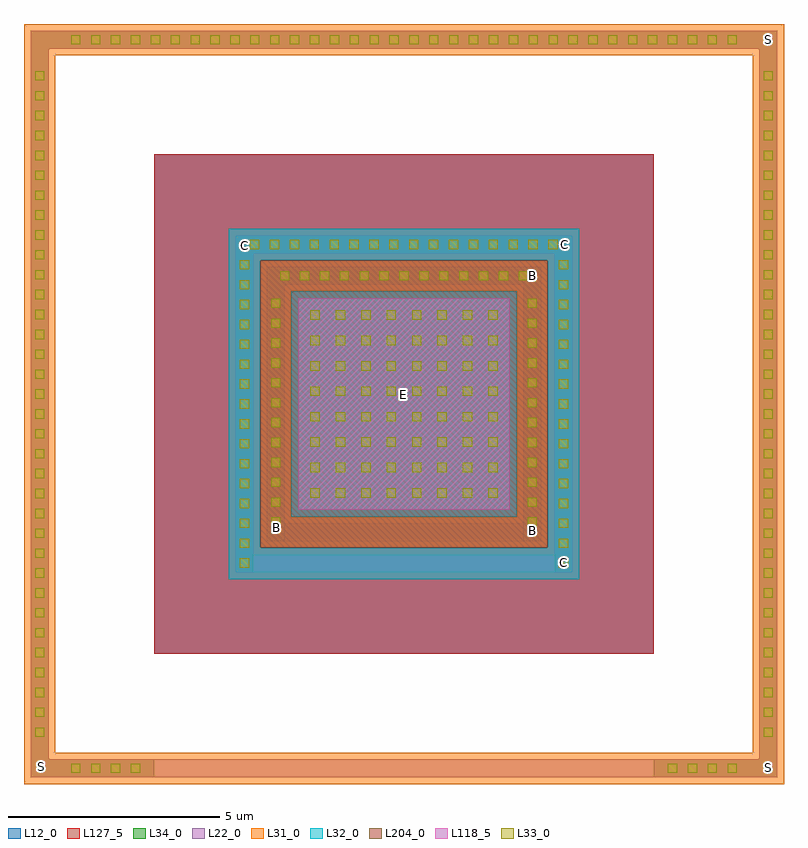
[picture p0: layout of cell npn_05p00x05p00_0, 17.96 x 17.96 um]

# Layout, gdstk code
import gdstk
lib = gdstk.Library(unit=1e-6, precision=1e-09)
def R(c, l, rs):  # rectangles x0, y0, x1, y1
    for r in rs: c.add(gdstk.rectangle(r[:2], r[2:], *l))
def A(c, l, x, y, w, h, nx, ny, dx, dy):  # array of equal rectangles
    R(c, l, [(x+i*dx, y+j*dy, x+i*dx+w, y+j*dy+h) for i in range(nx) for j in range(ny)])
def P(c, l, *ps):  # polygons
    for p in ps: c.add(gdstk.Polygon(p, *l))
L12_0 = (12, 0)
L22_0 = (22, 0)
L31_0 = (31, 0)
L32_0 = (32, 0)
L33_0 = (33, 0)
L34_0 = (34, 0)
L118_5 = (118, 5)
L127_5 = (127, 5)
L204_0 = (204, 0)

npn_05p00x05p00_0 = lib.new_cell('npn_05p00x05p00_0')
R(npn_05p00x05p00_0, L12_0, [(-3.4,-3.4,8.4,8.4)])
R(npn_05p00x05p00_0, L22_0, [(0,0,5,5)])
P(npn_05p00x05p00_0, L22_0, [(-6.32,-6.32),(-6.32,11.32),(10.9,11.32),(10.9,10.9),(-5.9,10.9),(-5.9,-5.9),(10.9,-5.9),(10.9,11.32),(11.32,11.32),(11.32,-6.32)],
  [(-0.74,-0.74),(-0.74,5.74),(5.32,5.74),(5.32,5.32),(-0.32,5.32),(-0.32,-0.32),(5.32,-0.32),(5.32,5.74),(5.74,5.74),(5.74,-0.74)],
  [(-1.48,-1.48),(-1.48,6.48),(6.06,6.48),(6.06,6.06),(-1.06,6.06),(-1.06,-1.06),(6.06,-1.06),(6.06,6.48),(6.48,6.48),(6.48,-1.48)])
P(npn_05p00x05p00_0, L31_0, [(-6.48,-6.48),(-6.48,11.48),(10.74,11.48),(10.74,10.74),(-5.74,10.74),(-5.74,-5.74),(10.74,-5.74),(10.74,11.48),(11.48,11.48),(11.48,-6.48)],
  [(-0.9,-0.9),(-0.9,5.9),(5.16,5.9),(5.16,5.16),(-0.16,5.16),(-0.16,-0.16),(5.16,-0.16),(5.16,5.9),(5.9,5.9),(5.9,-0.9)])
R(npn_05p00x05p00_0, L32_0, [(-0.16,-0.16,5.16,5.16)])
P(npn_05p00x05p00_0, L32_0, [(-1.64,-1.64),(-1.64,6.64),(5.9,6.64),(5.9,5.9),(-0.9,5.9),(-0.9,-0.9),(5.9,-0.9),(5.9,6.64),(6.64,6.64),(6.64,-1.64)])
A(npn_05p00x05p00_0, L33_0, -5.365, -6.22, 0.22, 0.22, 4, 1, 0.47, 0)
A(npn_05p00x05p00_0, L33_0, 8.735, -6.22, 0.22, 0.22, 4, 1, 0.47, 0)
A(npn_05p00x05p00_0, L33_0, -6.22, -5.365, 0.22, 0.22, 1, 34, 0, 0.47)
A(npn_05p00x05p00_0, L33_0, 11, -5.365, 0.22, 0.22, 1, 34, 0, 0.47)
A(npn_05p00x05p00_0, L33_0, -1.38, -1.37, 0.22, 0.22, 1, 16, 0, 0.47)
A(npn_05p00x05p00_0, L33_0, 6.16, -1.37, 0.22, 0.22, 1, 16, 0, 0.47)
A(npn_05p00x05p00_0, L33_0, -0.64, -0.4, 0.22, 0.22, 1, 12, 0, 0.47)
A(npn_05p00x05p00_0, L33_0, 5.42, -0.4, 0.22, 0.22, 1, 12, 0, 0.47)
A(npn_05p00x05p00_0, L33_0, 0.29, 0.29, 0.22, 0.22, 8, 8, 0.6, 0.6)
A(npn_05p00x05p00_0, L33_0, -0.43, 5.42, 0.22, 0.22, 13, 1, 0.47, 0)
A(npn_05p00x05p00_0, L33_0, -1.14, 6.16, 0.22, 0.22, 16, 1, 0.47, 0)
A(npn_05p00x05p00_0, L33_0, -5.365, 11, 0.22, 0.22, 34, 1, 0.47, 0)
R(npn_05p00x05p00_0, L34_0, [(-6.32,-6.32,-3.4,-5.9), (-6.32,-6.32,-5.9,11.32), (8.4,-6.32,11.32,-5.9), (10.9,-6.32,11.32,11.32), (-1.48,-1.48,-1.06,6.48), (6.06,-1.48,6.48,6.48), (-0.74,-0.74,-0.32,5.74), (5.32,-0.74,5.74,5.74), (0,0,5,5), (0,0,5,5), (-0.74,5.32,5.74,5.74), (-1.48,6.06,6.48,6.48), (-6.32,10.9,11.32,11.32)])
P(npn_05p00x05p00_0, L34_0, [(-6.32,-6.32),(-6.32,11.32),(10.9,11.32),(10.9,10.9),(-5.9,10.9),(-5.9,-5.9),(-3.4,-5.9),(-3.4,-6.32)],
  [(-0.74,-0.74),(-0.74,5.74),(5.74,5.74),(5.74,-0.74),(5.32,-0.74),(5.32,5.32),(-0.32,5.32),(-0.32,-0.74)],
  [(-1.48,-1.48),(-1.48,6.48),(6.48,6.48),(6.48,-1.48),(6.06,-1.48),(6.06,6.06),(-1.06,6.06),(-1.06,-1.48)],
  [(8.4,-6.32),(8.4,-5.9),(10.9,-5.9),(10.9,11.32),(11.32,11.32),(11.32,-6.32)])
R(npn_05p00x05p00_0, L118_5, [(0,0,5,5)])
R(npn_05p00x05p00_0, L127_5, [(-3.4,-3.4,8.4,8.4)])
R(npn_05p00x05p00_0, L204_0, [(-0.9,-0.9,5.9,5.9)])
npn_05p00x05p00_0.add(gdstk.Label('S', (-6.075,-6.075), layer=34, texttype=0))
npn_05p00x05p00_0.add(gdstk.Label('S', (-6.075,-6.075), layer=34, texttype=0))
npn_05p00x05p00_0.add(gdstk.Label('S', (11.105,-6.08), layer=34, texttype=0))
npn_05p00x05p00_0.add(gdstk.Label('S', (11.105,-6.08), layer=34, texttype=0))
npn_05p00x05p00_0.add(gdstk.Label('S', (11.12,11.12), layer=34, texttype=0))
npn_05p00x05p00_0.add(gdstk.Label('E', (2.485,2.725), layer=34, texttype=0))
npn_05p00x05p00_0.add(gdstk.Label('B', (5.535,-0.485), layer=34, texttype=0))
npn_05p00x05p00_0.add(gdstk.Label('B', (5.535,5.54), layer=34, texttype=0))
npn_05p00x05p00_0.add(gdstk.Label('B', (-0.515,-0.43), layer=34, texttype=0))
npn_05p00x05p00_0.add(gdstk.Label('C', (-1.275,6.24), layer=34, texttype=0))
npn_05p00x05p00_0.add(gdstk.Label('C', (6.28,-1.24), layer=34, texttype=0))
npn_05p00x05p00_0.add(gdstk.Label('C', (6.295,6.265), layer=34, texttype=0))

lib.write_gds('npn_05p00x05p00_0.gds')
